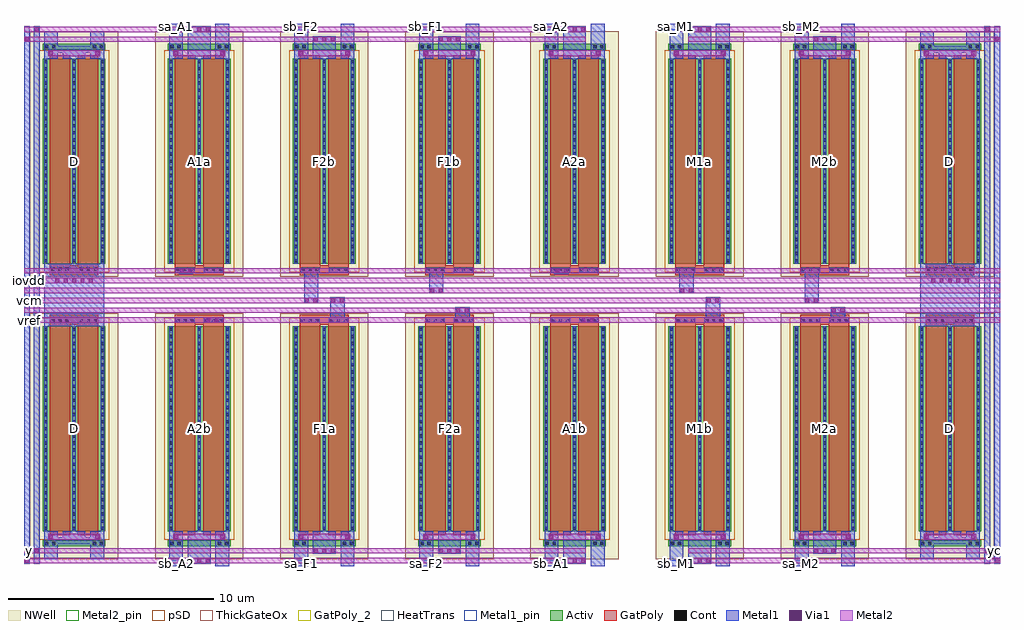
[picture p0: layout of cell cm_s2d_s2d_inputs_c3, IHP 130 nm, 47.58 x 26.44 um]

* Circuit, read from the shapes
.subckt cm_s2d_s2d_inputs_c3 iovdd sa_A1 sa_A2 sa_F1 sa_F2 sa_M1 sa_M2 sb_A1 sb_A2 sb_F1 sb_F2 sb_M1 sb_M2 vcm vfbn vfbp vin vref x xc y yc
XM1 iovdd iovdd iovdd iovdd sg13_hv_pmos w=10u l=1u m=8
XM2 x vref sb_A2 sb_A2 sg13_hv_pmos w=10u l=1u m=2
XM3 y vin sa_A1 sa_A1 sg13_hv_pmos w=10u l=1u m=2
XM4 y vcm sa_F1 sa_F1 sg13_hv_pmos w=10u l=1u m=2
XM5 x vcm sb_F2 sb_F2 sg13_hv_pmos w=10u l=1u m=2
XM6 y vfbn sa_F2 sa_F2 sg13_hv_pmos w=10u l=1u m=2
XM7 x vfbp sb_F1 sb_F1 sg13_hv_pmos w=10u l=1u m=2
XM8 x vref sb_A1 sb_A1 sg13_hv_pmos w=10u l=1u m=2
XM9 y vin sa_A2 sa_A2 sg13_hv_pmos w=10u l=1u m=2
XM10 xc vcm sb_M1 sb_M1 sg13_hv_pmos w=10u l=1u m=2
XM11 yc vfbp sa_M1 sa_M1 sg13_hv_pmos w=10u l=1u m=2
XM12 yc vfbn sa_M2 sa_M2 sg13_hv_pmos w=10u l=1u m=2
XM13 xc vcm sb_M2 sb_M2 sg13_hv_pmos w=10u l=1u m=2
.ends

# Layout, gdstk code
import gdstk
lib = gdstk.Library(unit=1e-6, precision=1e-09)
def R(c, l, rs):  # rectangles x0, y0, x1, y1
    for r in rs: c.add(gdstk.rectangle(r[:2], r[2:], *l))
def A(c, l, x, y, w, h, nx, ny, dx, dy):  # array of equal rectangles
    R(c, l, [(x+i*dx, y+j*dy, x+i*dx+w, y+j*dy+h) for i in range(nx) for j in range(ny)])
Activ = (1, 0)
GatPoly = (5, 0)
GatPoly_2 = (5, 2)
Cont = (6, 0)
Metal1 = (8, 0)
Metal1_pin = (8, 2)
Metal2 = (10, 0)
Metal2_pin = (10, 2)
pSD = (14, 0)
Via1 = (19, 0)
NWell = (31, 0)
ThickGateOx = (44, 0)
HeatTrans = (51, 0)

cm_s2d_pmoshv_w20_l1_ng2 = lib.new_cell('cm_s2d_pmosHV_w20_l1_ng2')
A(cm_s2d_pmoshv_w20_l1_ng2, Activ, 0, 0, 0.3, 0.3, 3, 1, 1.38, 0)
R(cm_s2d_pmoshv_w20_l1_ng2, Activ, [(0,0,3.06,10)])
R(cm_s2d_pmoshv_w20_l1_ng2, GatPoly, [(0.34,-0.18,1.34,10.18), (1.72,-0.18,2.72,10.18)])
R(cm_s2d_pmoshv_w20_l1_ng2, GatPoly_2, [(0.34,-0.18,1.34,10.18)])
A(cm_s2d_pmoshv_w20_l1_ng2, Cont, 0.07, 0.07, 0.16, 0.16, 3, 4, 1.38, 0.345)
A(cm_s2d_pmoshv_w20_l1_ng2, Cont, 0.07, 1.455, 0.16, 0.16, 3, 3, 1.38, 0.345)
A(cm_s2d_pmoshv_w20_l1_ng2, Cont, 0.07, 2.495, 0.16, 0.16, 3, 4, 1.38, 0.345)
A(cm_s2d_pmoshv_w20_l1_ng2, Cont, 0.07, 3.88, 0.16, 0.16, 3, 3, 1.38, 0.345)
A(cm_s2d_pmoshv_w20_l1_ng2, Cont, 0.07, 4.92, 0.16, 0.16, 3, 4, 1.38, 0.345)
A(cm_s2d_pmoshv_w20_l1_ng2, Cont, 0.07, 6.305, 0.16, 0.16, 3, 3, 1.38, 0.345)
A(cm_s2d_pmoshv_w20_l1_ng2, Cont, 0.07, 7.345, 0.16, 0.16, 3, 4, 1.38, 0.345)
A(cm_s2d_pmoshv_w20_l1_ng2, Cont, 0.07, 8.73, 0.16, 0.16, 3, 3, 1.38, 0.345)
A(cm_s2d_pmoshv_w20_l1_ng2, Cont, 0.07, 9.77, 0.16, 0.16, 3, 1, 1.38, 0)
A(cm_s2d_pmoshv_w20_l1_ng2, Metal1, 0.07, 0, 0.16, 10, 3, 1, 1.38, 0)
R(cm_s2d_pmoshv_w20_l1_ng2, Metal1_pin, [(0.07,0,0.23,10), (1.45,0,1.61,10)])
R(cm_s2d_pmoshv_w20_l1_ng2, pSD, [(-0.18,-0.4,3.24,10.4)])
R(cm_s2d_pmoshv_w20_l1_ng2, NWell, [(-0.62,-0.62,3.68,10.62)])
R(cm_s2d_pmoshv_w20_l1_ng2, ThickGateOx, [(-0.62,-0.62,3.68,10.62)])
R(cm_s2d_pmoshv_w20_l1_ng2, HeatTrans, [(0.34,-0.18,1.34,10.18), (1.72,-0.18,2.72,10.18)])
cm_s2d_pmoshv_w20_l1_ng2.add(gdstk.Label('pmosHV', (0.84,5), layer=63, texttype=0))
cm_s2d_pmoshv_w20_l1_ng2.add(gdstk.Label('pmos', (0.84,5), layer=51, texttype=0))
cm_s2d_pmoshv_w20_l1_ng2.add(gdstk.Label('pmos', (2.22,5), layer=51, texttype=0))

cm_s2d_tub_p20x1_c3 = lib.new_cell('cm_s2d_tub_p20x1_c3')
R(cm_s2d_tub_p20x1_c3, Activ, [(0,-0.73,3.06,-0.43)])
R(cm_s2d_tub_p20x1_c3, GatPoly, [(0.34,10,1.34,10.56), (1.72,10,2.72,10.56), (1.34,10.07,1.72,10.56)])
A(cm_s2d_tub_p20x1_c3, Cont, 0.42, 10.18, 0.16, 0.16, 3, 1, 0.34, 0)
A(cm_s2d_tub_p20x1_c3, Cont, 1.8, 10.18, 0.16, 0.16, 3, 1, 0.34, 0)
R(cm_s2d_tub_p20x1_c3, Cont, [(0.12,-0.66,0.28,-0.5), (0.46,-0.66,0.62,-0.5), (2.44,-0.66,2.6,-0.5), (2.78,-0.66,2.94,-0.5)])
R(cm_s2d_tub_p20x1_c3, Metal1, [(0.07,-1.35,0.74,0), (2.32,-1.35,2.99,0), (0.975,-0.62,2.085,0), (0.37,10.18,1.31,10.4), (1.75,10.18,2.69,10.4)])
R(cm_s2d_tub_p20x1_c3, Metal2, [(0.26,-0.41,2.8,-0.12)])
R(cm_s2d_tub_p20x1_c3, Via1, [(0.31,-0.36,0.5,-0.17), (2.56,-0.36,2.75,-0.17)])
R(cm_s2d_tub_p20x1_c3, NWell, [(-0.62,-1.35,3.68,10.62)])
R(cm_s2d_tub_p20x1_c3, ThickGateOx, [(-0.62,-1.35,3.68,10.62)])
cm_s2d_tub_p20x1_c3.add(gdstk.Reference(cm_s2d_pmoshv_w20_l1_ng2, (0,0)))
cm_s2d_tub_p20x1_c3.add(gdstk.Label('M', (1.53,5), layer=63, texttype=0))

cm_s2d_s2d_inputs_c3 = lib.new_cell('cm_s2d_s2d_inputs_c3')
R(cm_s2d_s2d_inputs_c3, Metal1, [(7.08,0,7.75,0.35), (9.33,0,10,0.35), (13.18,0,13.85,0.35), (15.43,0,16.1,0.35), (19.28,0,19.95,0.35), (21.53,0,22.2,0.35), (25.38,0,26.05,0.35), (27.63,0,28.3,0.35), (31.48,0,32.15,0.35), (33.73,0,34.4,0.35), (37.58,0,38.25,0.35), (39.83,0,40.5,0.35), (0,0.125,0.29,26.315), (0.47,0.125,0.76,26.315), (7.985,0.125,9.095,1.08), (26.285,0.125,27.395,1.08), (32.385,0.125,33.495,1.08), (46.82,0.125,47.11,26.315), (47.29,0.125,47.58,26.315), (14.085,0.605,15.195,1.08), (20.185,0.605,21.295,1.08), (38.485,0.605,39.595,1.08), (0.98,1.08,3.9,1.4), (43.68,1.08,46.6,1.4), (0.98,11.7,3.9,14.74), (43.68,11.7,46.6,14.74), (8.83,11.88,9.53,12.145), (14.93,11.88,15.63,13.105), (21.03,11.88,21.73,12.625), (27.13,11.88,27.83,12.145), (33.23,11.88,33.93,13.105), (39.33,11.88,40.03,12.625), (13.65,12.815,14.35,14.56), (38.05,12.815,38.75,14.56), (19.75,13.295,20.45,14.56), (31.95,13.295,32.65,14.56), (7.55,14.255,8.25,14.56), (25.85,14.255,26.55,14.56), (0.98,25.04,3.9,25.36), (43.68,25.04,46.6,25.36), (7.985,25.36,9.095,26.315), (14.085,25.36,15.195,25.835), (20.185,25.36,21.295,25.835), (26.285,25.36,27.395,26.315), (32.385,25.36,33.495,26.315), (38.485,25.36,39.595,25.835), (7.08,26.09,7.75,26.44), (9.33,26.09,10,26.44), (13.18,26.09,13.85,26.44), (15.43,26.09,16.1,26.44), (19.28,26.09,19.95,26.44), (21.53,26.09,22.2,26.44), (25.38,26.09,26.05,26.44), (27.63,26.09,28.3,26.44), (31.48,26.09,32.15,26.44), (33.73,26.09,34.4,26.44), (37.58,26.09,38.25,26.44), (39.83,26.09,40.5,26.44)])
A(cm_s2d_s2d_inputs_c3, Metal1_pin, 7.08, 0, 0.67, 0.3, 6, 2, 6.1, 26.14)
A(cm_s2d_s2d_inputs_c3, Metal2, 0, 11.87, 47.58, 0.26, 1, 6, 0, 0.48)
R(cm_s2d_s2d_inputs_c3, Metal2, [(0,0.14,27.395,0.4), (32.385,0.14,47.58,0.4), (0,0.62,27.395,0.88), (32.385,0.62,47.58,0.88), (0,25.56,27.395,25.82), (32.385,25.56,47.58,25.82), (0,26.04,27.395,26.3), (32.385,26.04,47.58,26.3)])
A(cm_s2d_s2d_inputs_c3, Metal2_pin, 0, 11.87, 0.5, 0.26, 1, 6, 0, 0.48)
R(cm_s2d_s2d_inputs_c3, Metal2_pin, [(0,0.14,0.5,0.4), (47.08,0.14,47.58,0.4), (0,0.62,0.5,0.88), (47.08,0.62,47.58,0.88)])
A(cm_s2d_s2d_inputs_c3, Via1, 8.035, 0.175, 0.19, 0.19, 3, 2, 0.41, 25.9)
A(cm_s2d_s2d_inputs_c3, Via1, 26.335, 0.175, 0.19, 0.19, 3, 2, 0.41, 25.9)
A(cm_s2d_s2d_inputs_c3, Via1, 32.435, 0.175, 0.19, 0.19, 3, 2, 0.41, 25.9)
A(cm_s2d_s2d_inputs_c3, Via1, 14.135, 0.655, 0.19, 0.19, 3, 2, 0.41, 24.94)
A(cm_s2d_s2d_inputs_c3, Via1, 20.235, 0.655, 0.19, 0.19, 3, 2, 0.41, 24.94)
A(cm_s2d_s2d_inputs_c3, Via1, 38.535, 0.655, 0.19, 0.19, 3, 2, 0.41, 24.94)
A(cm_s2d_s2d_inputs_c3, Via1, 1.525, 13.825, 0.19, 0.19, 5, 1, 0.41, 0)
A(cm_s2d_s2d_inputs_c3, Via1, 44.225, 13.825, 0.19, 0.19, 5, 1, 0.41, 0)
R(cm_s2d_s2d_inputs_c3, Via1, [(0.05,0.175,0.24,0.365), (47.34,0.175,47.53,0.365), (0.52,0.655,0.71,0.845), (46.87,0.655,47.06,0.845), (8.88,11.905,9.07,12.095), (9.29,11.905,9.48,12.095), (27.18,11.905,27.37,12.095), (27.59,11.905,27.78,12.095), (21.08,12.385,21.27,12.575), (21.49,12.385,21.68,12.575), (39.38,12.385,39.57,12.575), (39.79,12.385,39.98,12.575), (13.7,12.865,13.89,13.055), (14.11,12.865,14.3,13.055), (14.98,12.865,15.17,13.055), (15.39,12.865,15.58,13.055), (33.28,12.865,33.47,13.055), (33.69,12.865,33.88,13.055), (38.1,12.865,38.29,13.055), (38.51,12.865,38.7,13.055), (19.8,13.345,19.99,13.535), (20.21,13.345,20.4,13.535), (32,13.345,32.19,13.535), (32.41,13.345,32.6,13.535), (7.6,14.305,7.79,14.495), (8.01,14.305,8.2,14.495), (25.9,14.305,26.09,14.495), (26.31,14.305,26.5,14.495), (0.05,25.595,0.24,25.785), (47.34,25.595,47.53,25.785), (0.52,26.075,0.71,26.265), (46.87,26.075,47.06,26.265)])
cm_s2d_s2d_inputs_c3.add(gdstk.Reference(cm_s2d_tub_p20x1_c3, (0.91,1.7)))
cm_s2d_s2d_inputs_c3.add(gdstk.Reference(cm_s2d_tub_p20x1_c3, (7.01,1.7)))
cm_s2d_s2d_inputs_c3.add(gdstk.Reference(cm_s2d_tub_p20x1_c3, (13.11,1.7)))
cm_s2d_s2d_inputs_c3.add(gdstk.Reference(cm_s2d_tub_p20x1_c3, (19.21,1.7)))
cm_s2d_s2d_inputs_c3.add(gdstk.Reference(cm_s2d_tub_p20x1_c3, (25.31,1.7)))
cm_s2d_s2d_inputs_c3.add(gdstk.Reference(cm_s2d_tub_p20x1_c3, (31.41,1.7)))
cm_s2d_s2d_inputs_c3.add(gdstk.Reference(cm_s2d_tub_p20x1_c3, (37.51,1.7)))
cm_s2d_s2d_inputs_c3.add(gdstk.Reference(cm_s2d_tub_p20x1_c3, (43.61,1.7)))
cm_s2d_s2d_inputs_c3.add(gdstk.Reference(cm_s2d_tub_p20x1_c3, (0.91,24.74), x_reflection=True))
cm_s2d_s2d_inputs_c3.add(gdstk.Reference(cm_s2d_tub_p20x1_c3, (7.01,24.74), x_reflection=True))
cm_s2d_s2d_inputs_c3.add(gdstk.Reference(cm_s2d_tub_p20x1_c3, (13.11,24.74), x_reflection=True))
cm_s2d_s2d_inputs_c3.add(gdstk.Reference(cm_s2d_tub_p20x1_c3, (19.21,24.74), x_reflection=True))
cm_s2d_s2d_inputs_c3.add(gdstk.Reference(cm_s2d_tub_p20x1_c3, (25.31,24.74), x_reflection=True))
cm_s2d_s2d_inputs_c3.add(gdstk.Reference(cm_s2d_tub_p20x1_c3, (31.41,24.74), x_reflection=True))
cm_s2d_s2d_inputs_c3.add(gdstk.Reference(cm_s2d_tub_p20x1_c3, (37.51,24.74), x_reflection=True))
cm_s2d_s2d_inputs_c3.add(gdstk.Reference(cm_s2d_tub_p20x1_c3, (43.61,24.74), x_reflection=True))
cm_s2d_s2d_inputs_c3.add(gdstk.Label('D', (2.44,6.7), layer=63, texttype=0))
cm_s2d_s2d_inputs_c3.add(gdstk.Label('A2b', (8.54,6.7), layer=63, texttype=0))
cm_s2d_s2d_inputs_c3.add(gdstk.Label('F1a', (14.64,6.7), layer=63, texttype=0))
cm_s2d_s2d_inputs_c3.add(gdstk.Label('F2a', (20.74,6.7), layer=63, texttype=0))
cm_s2d_s2d_inputs_c3.add(gdstk.Label('A1b', (26.84,6.7), layer=63, texttype=0))
cm_s2d_s2d_inputs_c3.add(gdstk.Label('M1b', (32.94,6.7), layer=63, texttype=0))
cm_s2d_s2d_inputs_c3.add(gdstk.Label('M2a', (39.04,6.7), layer=63, texttype=0))
cm_s2d_s2d_inputs_c3.add(gdstk.Label('D', (45.14,6.7), layer=63, texttype=0))
cm_s2d_s2d_inputs_c3.add(gdstk.Label('D', (2.44,19.74), layer=63, texttype=0))
cm_s2d_s2d_inputs_c3.add(gdstk.Label('A1a', (8.54,19.74), layer=63, texttype=0))
cm_s2d_s2d_inputs_c3.add(gdstk.Label('F2b', (14.64,19.74), layer=63, texttype=0))
cm_s2d_s2d_inputs_c3.add(gdstk.Label('F1b', (20.74,19.74), layer=63, texttype=0))
cm_s2d_s2d_inputs_c3.add(gdstk.Label('A2a', (26.84,19.74), layer=63, texttype=0))
cm_s2d_s2d_inputs_c3.add(gdstk.Label('M1a', (32.94,19.74), layer=63, texttype=0))
cm_s2d_s2d_inputs_c3.add(gdstk.Label('M2b', (39.04,19.74), layer=63, texttype=0))
cm_s2d_s2d_inputs_c3.add(gdstk.Label('D', (45.14,19.74), layer=63, texttype=0))
cm_s2d_s2d_inputs_c3.add(gdstk.Label('sb_A2', (7.415,0.15), layer=8, texttype=25))
cm_s2d_s2d_inputs_c3.add(gdstk.Label('sa_F1', (13.515,0.15), layer=8, texttype=25))
cm_s2d_s2d_inputs_c3.add(gdstk.Label('sa_F2', (19.615,0.15), layer=8, texttype=25))
cm_s2d_s2d_inputs_c3.add(gdstk.Label('sb_A1', (25.715,0.15), layer=8, texttype=25))
cm_s2d_s2d_inputs_c3.add(gdstk.Label('sb_M1', (31.815,0.15), layer=8, texttype=25))
cm_s2d_s2d_inputs_c3.add(gdstk.Label('sa_M2', (37.915,0.15), layer=8, texttype=25))
cm_s2d_s2d_inputs_c3.add(gdstk.Label('sa_A1', (7.415,26.29), layer=8, texttype=25))
cm_s2d_s2d_inputs_c3.add(gdstk.Label('sb_F2', (13.515,26.29), layer=8, texttype=25))
cm_s2d_s2d_inputs_c3.add(gdstk.Label('sb_F1', (19.615,26.29), layer=8, texttype=25))
cm_s2d_s2d_inputs_c3.add(gdstk.Label('sa_A2', (25.715,26.29), layer=8, texttype=25))
cm_s2d_s2d_inputs_c3.add(gdstk.Label('sa_M1', (31.815,26.29), layer=8, texttype=25))
cm_s2d_s2d_inputs_c3.add(gdstk.Label('sb_M2', (37.915,26.29), layer=8, texttype=25))
cm_s2d_s2d_inputs_c3.add(gdstk.Label('iovdd', (0.25,13.92), layer=10, texttype=25))
cm_s2d_s2d_inputs_c3.add(gdstk.Label('vref', (0.25,12), layer=10, texttype=25))
cm_s2d_s2d_inputs_c3.add(gdstk.Label('vfbn', (0.25,12.48), layer=10, texttype=25))
cm_s2d_s2d_inputs_c3.add(gdstk.Label('vcm', (0.25,12.96), layer=10, texttype=25))
cm_s2d_s2d_inputs_c3.add(gdstk.Label('vfbp', (0.25,13.44), layer=10, texttype=25))
cm_s2d_s2d_inputs_c3.add(gdstk.Label('vin', (0.25,14.4), layer=10, texttype=25))
cm_s2d_s2d_inputs_c3.add(gdstk.Label('y', (0.25,0.75), layer=10, texttype=25))
cm_s2d_s2d_inputs_c3.add(gdstk.Label('x', (0.25,0.27), layer=10, texttype=25))
cm_s2d_s2d_inputs_c3.add(gdstk.Label('yc', (47.33,0.75), layer=10, texttype=25))
cm_s2d_s2d_inputs_c3.add(gdstk.Label('xc', (47.33,0.27), layer=10, texttype=25))

lib.write_gds('cm_s2d_s2d_inputs_c3.gds')
